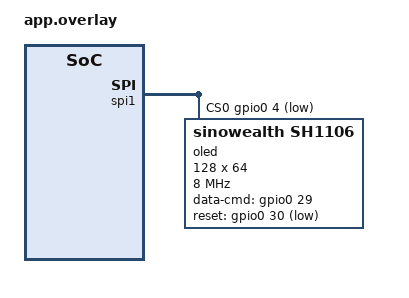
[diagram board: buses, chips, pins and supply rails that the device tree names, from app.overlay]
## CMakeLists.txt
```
# Обов'язкова мінімальна версія CMake для Zephyr v3.2.0
cmake_minimum_required(VERSION 3.20.0)

# Знаходимо та підключаємо пакет Zephyr RTOS
find_package(Zephyr REQUIRED HINTS $ENV{ZEPHYR_BASE})

# Оголошуємо назву нашого проєкту
project(nrf52840_hello_world)

# Вказуємо файл із головною функцією main для компіляції
target_sources(app PRIVATE src/main.c src/controls.c src/render.c)
```

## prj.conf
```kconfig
CONFIG_BT=y
CONFIG_BT_CENTRAL=y
CONFIG_BT_GATT_CLIENT=y
CONFIG_BT_SMP=y

CONFIG_BT_BUF_ACL_RX_SIZE=251
CONFIG_BT_L2CAP_TX_MTU=247
```

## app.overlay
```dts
#include <zephyr/dt-bindings/gpio/gpio.h>

/ {
	chosen {
		zephyr,display = &oled;
	};
};

&pinctrl {
	spi1_default: spi1_default {
		group1 {
			psels = <NRF_PSEL(SPIM_SCK, 1, 5)>,
				<NRF_PSEL(SPIM_MOSI, 1, 6)>;
		};
	};

	spi1_sleep: spi1_sleep {
		group1 {
			psels = <NRF_PSEL(SPIM_SCK, 1, 5)>,
				<NRF_PSEL(SPIM_MOSI, 1, 6)>;
			low-power-enable;
		};
	};
};

&spi1 {
	compatible = "nordic,nrf-spim";
	status = "okay";
	cs-gpios = <&gpio0 4 GPIO_ACTIVE_LOW>;

	oled: sh1106@0 {
		compatible = "sinowealth,sh1106";
		reg = <0>;
		spi-max-frequency = <8000000>;
		width = <128>;
		height = <64>;
		segment-offset = <2>;
		page-offset = <0>;
		display-offset = <0>;
		multiplex-ratio = <63>;
		prechargep = <0x22>;
		segment-remap;
		com-invdir;
		data-cmd-gpios = <&gpio0 29 GPIO_ACTIVE_HIGH>;
		reset-gpios = <&gpio0 30 GPIO_ACTIVE_LOW>;
	};
};
```

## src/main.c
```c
#include <zephyr/kernel.h>
#include <zephyr/logging/log.h>

LOG_MODULE_REGISTER(main, LOG_LEVEL_INF);

int main(void)
{
    LOG_INF("Hello World from nRF52840 DK!");

    while (1) {
        k_msleep(5000);
    }

    return 0;
}
```

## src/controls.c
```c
#include "controls.h"

static const struct gpio_dt_spec btn_left   = GPIO_DT_SPEC_GET(DT_ALIAS(sw0), gpios);
static const struct gpio_dt_spec btn_right  = GPIO_DT_SPEC_GET(DT_ALIAS(sw1), gpios);
static const struct gpio_dt_spec btn_thrust = GPIO_DT_SPEC_GET(DT_ALIAS(sw2), gpios);
static const struct gpio_dt_spec btn_toggle = GPIO_DT_SPEC_GET(DT_ALIAS(sw3), gpios);

static struct gpio_callback cb_left, cb_right, cb_thrust, cb_toggle;

static volatile bool is_left_pressed = false;
static volatile bool is_right_pressed = false;
static volatile bool is_thrust_pressed = false;
static volatile bool is_toggle_pressed = false;
static volatile bool next_vertical_dir_is_top = true;

static void handler_left(const struct device *dev, struct gpio_callback *cb, uint32_t pins) {
	is_left_pressed = gpio_pin_get_dt(&btn_left);
}
static void handler_right(const struct device *dev, struct gpio_callback *cb, uint32_t pins) {
	is_right_pressed = gpio_pin_get_dt(&btn_right);
}
static void handler_thrust(const struct device *dev, struct gpio_callback *cb, uint32_t pins) {
	is_thrust_pressed = gpio_pin_get_dt(&btn_thrust);
}
static void handler_toggle(const struct device *dev, struct gpio_callback *cb, uint32_t pins) {
	bool current_state = gpio_pin_get_dt(&btn_toggle);
	if (current_state && !is_toggle_pressed) {
		next_vertical_dir_is_top = !next_vertical_dir_is_top;
	}
	is_toggle_pressed = current_state;
}

void init_controls(void) {
	if (device_is_ready(btn_left.port)) {
		gpio_pin_configure_dt(&btn_left, GPIO_INPUT);
		gpio_pin_interrupt_configure_dt(&btn_left, GPIO_INT_EDGE_BOTH);
		gpio_init_callback(&cb_left, handler_left, BIT(btn_left.pin));
		gpio_add_callback(btn_left.port, &cb_left);
	}
	if (device_is_ready(btn_right.port)) {
		gpio_pin_configure_dt(&btn_right, GPIO_INPUT);
		gpio_pin_interrupt_configure_dt(&btn_right, GPIO_INT_EDGE_BOTH);
		gpio_init_callback(&cb_right, handler_right, BIT(btn_right.pin));
		gpio_add_callback(btn_right.port, &cb_right);
	}
	if (device_is_ready(btn_thrust.port)) {
		gpio_pin_configure_dt(&btn_thrust, GPIO_INPUT);
		gpio_pin_interrupt_configure_dt(&btn_thrust, GPIO_INT_EDGE_BOTH);
		gpio_init_callback(&cb_thrust, handler_thrust, BIT(btn_thrust.pin));
		gpio_add_callback(btn_thrust.port, &cb_thrust);
	}
	if (device_is_ready(btn_toggle.port)) {
		gpio_pin_configure_dt(&btn_toggle, GPIO_INPUT);
		gpio_pin_interrupt_configure_dt(&btn_toggle, GPIO_INT_EDGE_BOTH);
		gpio_init_callback(&cb_toggle, handler_toggle, BIT(btn_toggle.pin));
		gpio_add_callback(btn_toggle.port, &cb_toggle);
	}
}

void get_controls_snapshot(float *rotate_speed) {

  *rotate_speed = is_thrust_pressed ? ROTATE_SPEED : 0.0f;
}
```

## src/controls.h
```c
#ifndef CONTROLS_H
#define CONTROLS_H

#include <zephyr/drivers/gpio.h>

#define ROTATE_SPEED          0.1f

void init_controls(void);
void get_controls_snapshot(float *rotate_speed);

#endif
```

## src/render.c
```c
#include "render.h"
#include <zephyr/display/cfb.h>
#include <math.h>
#include <string.h>

typedef struct { float x; float y; } Point2D;
typedef struct { int16_t x; int16_t y; float radius; float z; bool visible; } RenderObject;

void render_frame(const struct device *display, float angle) {
  struct cfb_position pA = {
    x: 10,
    y: 10
  };

  struct cfb_position pB = {
    x: pA.x + (int16_t)lroundf(cosf(angle) * 20.0f),
    y: pA.y + (int16_t)lroundf(sinf(angle) * 20.0f)
  };

  cfb_draw_line(display, &pA, &pB);
}
```

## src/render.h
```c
#ifndef RENDER_H
#define RENDER_H

#include <zephyr/device.h>

void render_frame(const struct device *display, float angle);

#endif
```
